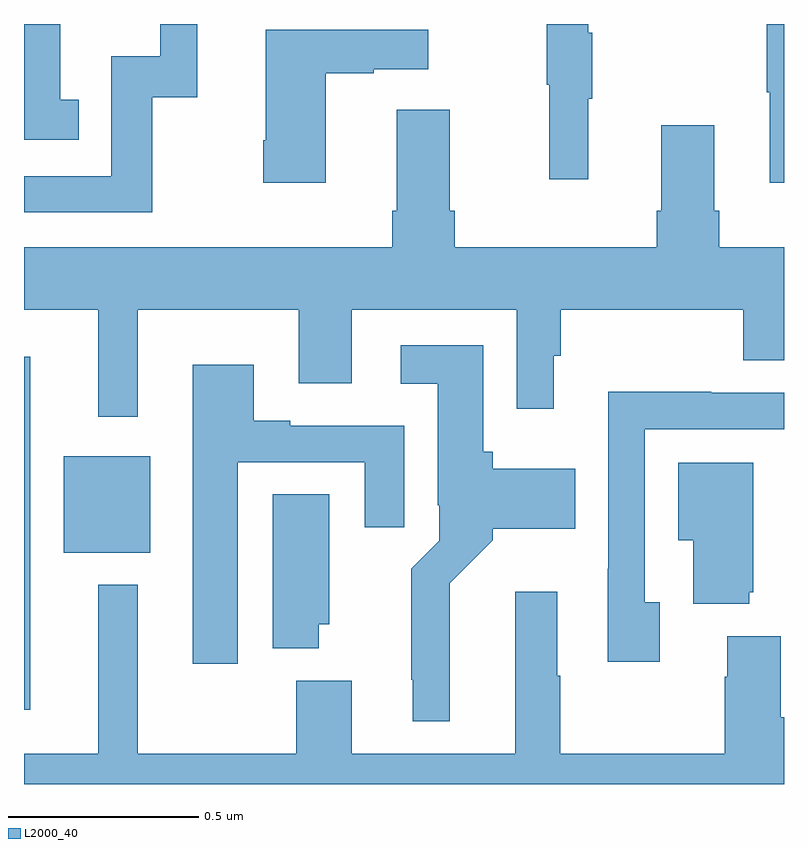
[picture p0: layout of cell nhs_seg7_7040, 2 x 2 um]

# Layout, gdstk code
import gdstk
lib = gdstk.Library(unit=1e-6, precision=1e-09)
def R(c, l, rs):  # rectangles x0, y0, x1, y1
    for r in rs: c.add(gdstk.rectangle(r[:2], r[2:], *l))
def P(c, l, *ps):  # polygons
    for p in ps: c.add(gdstk.Polygon(p, *l))
L2000_40 = (2000, 40)

nhs_seg7_7040 = lib.new_cell('nhs_seg7_7040')
R(nhs_seg7_7040, L2000_40, [(206,1034.195,206.017,1035.124), (206.105,1034.609,206.332,1034.863)])
P(nhs_seg7_7040, L2000_40, [(208,1036),(207.955,1036),(207.955,1035.82),(207.962,1035.82),(207.962,1035.582),(208,1035.582)],
  [(206.144,1035.801),(206.095,1035.801),(206.095,1036),(206,1036),(206,1035.696),(206.144,1035.696)],
  [(207.485,1035.803),(207.496,1035.803),(207.496,1035.977),(207.485,1035.977),(207.485,1036),(207.375,1036),(207.375,1035.84),(207.382,1035.84),(207.382,1035.591),(207.485,1035.591)],
  [(206.338,1035.807),(206.456,1035.807),(206.456,1036),(206.358,1036),(206.358,1035.915),(206.229,1035.915),(206.229,1035.6),(206,1035.6),(206,1035.504),(206.338,1035.504)],
  [(206.794,1035.871),(206.921,1035.871),(206.921,1035.881),(207.064,1035.881),(207.064,1035.985),(206.636,1035.985),(206.636,1035.694),(206.629,1035.694),(206.629,1035.582),(206.794,1035.582)],
  [(206.299,1035.248),(206.723,1035.248),(206.723,1035.054),(206.863,1035.054),(206.863,1035.248),(207.297,1035.248),(207.297,1034.988),(207.394,1034.988),(207.394,1035.127),(207.413,1035.127),(207.413,1035.248),(207.893,1035.248),(207.893,1035.115),(208,1035.115),(208,1035.412),(207.83,1035.412),(207.83,1035.508),(207.817,1035.508),(207.817,1035.733),(207.677,1035.733),(207.677,1035.508),(207.665,1035.508),(207.665,1035.412),(207.134,1035.412),(207.134,1035.508),(207.121,1035.508),(207.121,1035.775),(206.981,1035.775),(206.981,1035.508),(206.969,1035.508),(206.969,1035.412),(206,1035.412),(206,1035.248),(206.195,1035.248),(206.195,1034.967),(206.299,1034.967)],
  [(207.121,1034.528),(207.234,1034.641),(207.234,1034.672),(207.451,1034.672),(207.451,1034.83),(207.234,1034.83),(207.234,1034.874),(207.208,1034.874),(207.208,1035.154),(206.991,1035.154),(206.991,1035.053),(207.089,1035.053),(207.089,1034.734),(207.093,1034.734),(207.093,1034.64),(207.019,1034.566),(207.019,1034.275),(207.023,1034.275),(207.023,1034.165),(207.121,1034.165)],
  [(206.563,1034.847),(206.897,1034.847),(206.897,1034.676),(207.001,1034.676),(207.001,1034.943),(206.701,1034.943),(206.701,1034.956),(206.605,1034.956),(206.605,1035.103),(206.444,1035.103),(206.444,1034.316),(206.563,1034.316)],
  [(207.673,1034.478),(207.633,1034.478),(207.633,1034.934),(208,1034.934),(208,1035.03),(207.809,1035.03),(207.809,1035.032),(207.537,1035.032),(207.537,1034.566),(207.536,1034.566),(207.536,1034.322),(207.673,1034.322)],
  [(207.908,1034.505),(207.919,1034.505),(207.919,1034.845),(207.722,1034.845),(207.722,1034.642),(207.761,1034.642),(207.761,1034.474),(207.908,1034.474)],
  [(206.776,1034.421),(206.803,1034.421),(206.803,1034.762),(206.654,1034.762),(206.654,1034.357),(206.776,1034.357)],
  [(208,1034.176),(207.991,1034.176),(207.991,1034.389),(207.851,1034.389),(207.851,1034.282),(207.844,1034.282),(207.844,1034.08),(207.411,1034.08),(207.411,1034.285),(207.403,1034.285),(207.403,1034.506),(207.293,1034.506),(207.293,1034.08),(206.863,1034.08),(206.863,1034.272),(206.716,1034.272),(206.716,1034.08),(206.299,1034.08),(206.299,1034.524),(206.195,1034.524),(206.195,1034.08),(206,1034.08),(206,1034),(208,1034)])

lib.write_gds('nhs_seg7_7040.gds')
